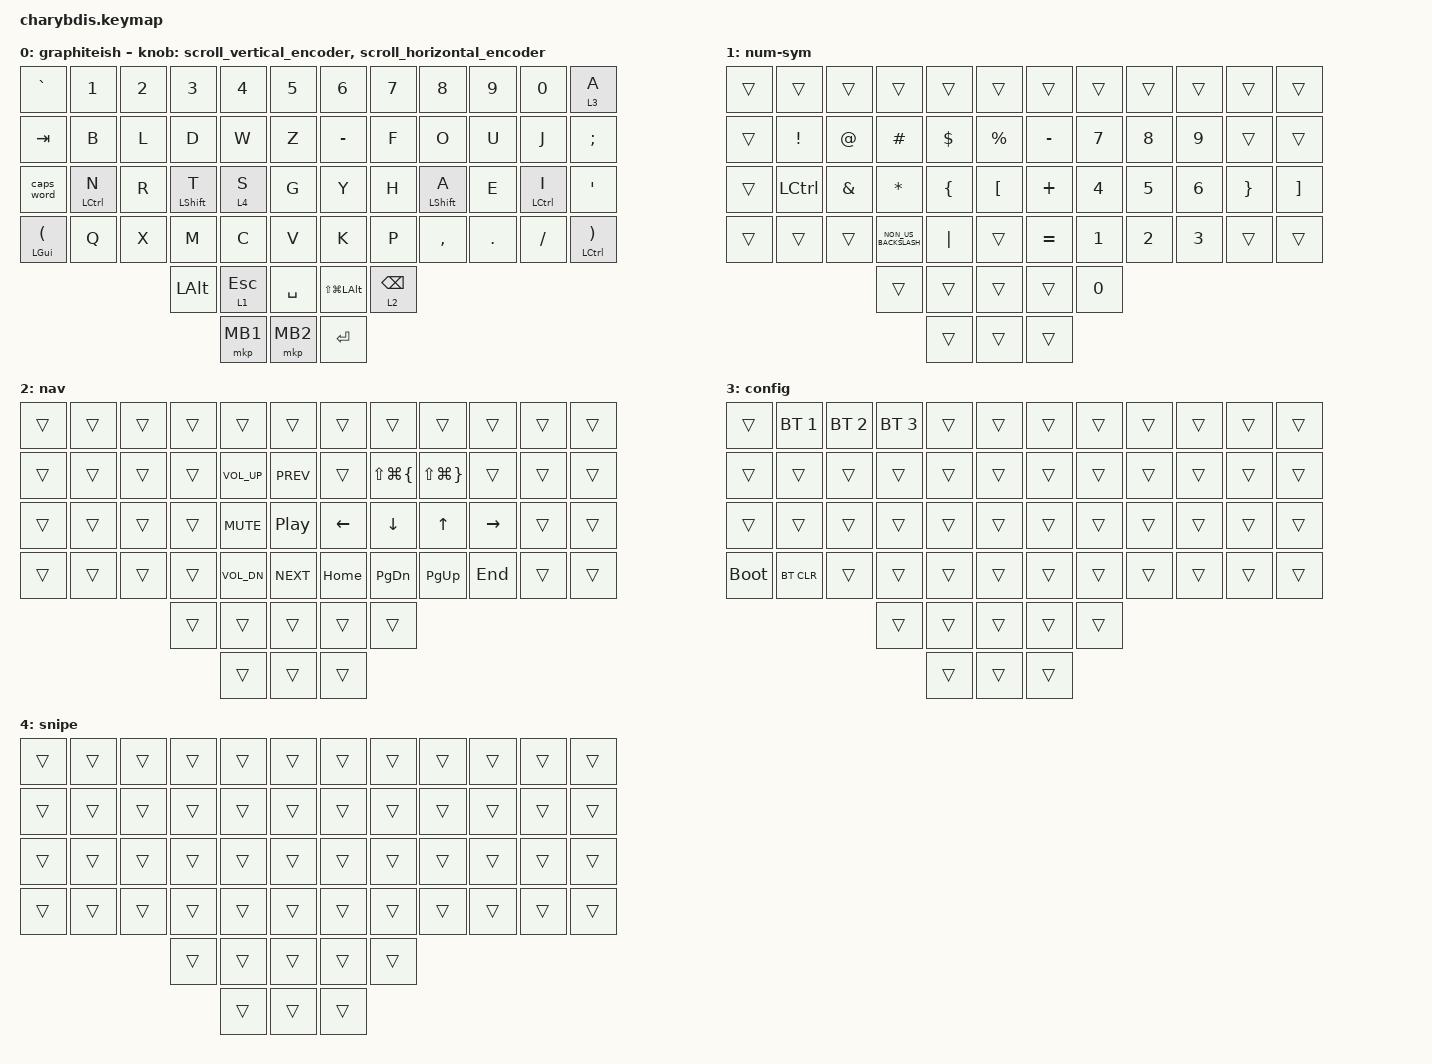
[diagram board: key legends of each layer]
#include <dt-bindings/zmk/mouse.h>
#include <input/processors.dtsi>
#include <zephyr/dt-bindings/input/input-event-codes.h>
#include <behaviors.dtsi>
#include <dt-bindings/zmk/bt.h>
#include <dt-bindings/zmk/keys.h>
#include <dt-bindings/zmk/pointing.h>

#define ZMK_POINTING_DEFAULT_MOVE_VAL 2000 // 600
#define ZMK_POINTING_DEFAULT_SCRL_VAL 12   // 10

&lt {
    tapping-term-ms = <200>;
    flavor = "balanced";
    quick-tap-ms = <150>;
};

&mt { flavor = "tap-preferred"; };

&mmv_input_listener { input-processors = <&zip_xy_scaler 2 1>; };

&msc_input_listener { input-processors = <&zip_scroll_scaler 2 1>; };

/ {
    // 上下滚动编码器行为

    scroll_vertical_encoder: scroll_vertical_encoder {
        compatible = "zmk,behavior-sensor-rotate";
        #sensor-binding-cells = <0>;
        bindings = <&msc SCRL_DOWN>, <&msc SCRL_UP>;

        tap-ms = <100>;
    };

    // 左右滚动编码器行为

    scroll_horizontal_encoder: scroll_horizontal_encoder {
        compatible = "zmk,behavior-sensor-rotate";
        #sensor-binding-cells = <0>;
        bindings = <&msc SCRL_LEFT>, <&msc SCRL_RIGHT>;

        tap-ms = <100>;
    };

    behaviors {
    };

    combos {
        compatible = "zmk,combos";

        middle-mouse {
            bindings = <&mkp MCLK>;
            key-positions = <53 54>;
        };
    };

    keymap {
        compatible = "zmk,keymap";

        graphiteish {
            bindings = <
&kp GRAVE                  &kp N1       &kp N2  &kp N3            &kp N4        &kp N5       &kp N6                &kp N7           &kp N8            &kp N9   &kp N0       &lt 3 A
&kp TAB                    &kp B        &kp L   &kp D             &kp W         &kp Z        &kp MINUS             &kp F            &kp O             &kp U    &kp J        &kp SEMI
&caps_word                 &mt LCTRL N  &kp R   &mt LEFT_SHIFT T  &lt 4 S       &kp G        &kp Y                 &kp H            &mt LEFT_SHIFT A  &kp E    &mt LCTRL I  &kp APOS
&mt LGUI LEFT_PARENTHESIS  &kp Q        &kp X   &kp M             &kp C         &kp V        &kp K                 &kp P            &kp COMMA         &kp DOT  &kp FSLH     &mt LCTRL RIGHT_PARENTHESIS
                                                &kp LEFT_ALT      &lt 1 ESCAPE  &kp SPACE    &kp LS(LG(LEFT_ALT))  &lt 2 BACKSPACE
                                                                  &mkp MB1      &mkp MB2     &kp ENTER
            >;

            sensor-bindings =
                <&scroll_vertical_encoder>,
                // 编码器1：上下滚动,,,,,,,,,,,,
                <&scroll_horizontal_encoder>;

            // 编码器2：左右滚动
        };

        num-sym {
            bindings = <
&trans  &trans           &trans         &trans                &trans          &trans              &trans     &trans        &trans  &trans  &trans           &trans
&trans  &kp EXCLAMATION  &kp AT_SIGN    &kp HASH              &kp DOLLAR      &kp PERCENT         &kp MINUS  &kp N7        &kp N8  &kp N9  &trans           &trans
&trans  &kp LCTRL        &kp AMPERSAND  &kp ASTERISK          &kp LEFT_BRACE  &kp LEFT_BRACKET    &kp PLUS   &kp N4        &kp N5  &kp N6  &kp RIGHT_BRACE  &kp RIGHT_BRACKET
&trans  &trans           &trans         &kp NON_US_BACKSLASH  &kp PIPE        &trans              &kp EQUAL  &kp NUMBER_1  &kp N2  &kp N3  &trans           &trans
                                        &trans                &trans          &trans              &trans     &kp N0
                                                              &trans          &trans              &trans
            >;
        };

        nav {
            bindings = <
&trans  &trans  &trans  &trans  &trans           &trans              &trans    &trans                  &trans                   &trans     &trans  &trans
&trans  &trans  &trans  &trans  &kp C_VOLUME_UP  &kp C_PREV          &trans    &kp LS(LG(LEFT_BRACE))  &kp LS(LG(RIGHT_BRACE))  &trans     &trans  &trans
&trans  &trans  &trans  &trans  &kp C_MUTE       &kp C_PLAY_PAUSE    &kp LEFT  &kp DOWN_ARROW          &kp UP_ARROW             &kp RIGHT  &trans  &trans
&trans  &trans  &trans  &trans  &kp C_VOL_DN     &kp C_NEXT          &kp HOME  &kp PAGE_DOWN           &kp PAGE_UP              &kp END    &trans  &trans
                        &trans  &trans           &trans              &trans    &trans
                                &trans           &trans              &trans
            >;
        };

        config {
            bindings = <
&trans       &bt BT_SEL 1  &bt BT_SEL 2  &bt BT_SEL 3  &trans  &trans    &trans  &trans  &trans  &trans  &trans  &trans
&trans       &trans        &trans        &trans        &trans  &trans    &trans  &trans  &trans  &trans  &trans  &trans
&trans       &trans        &trans        &trans        &trans  &trans    &trans  &trans  &trans  &trans  &trans  &trans
&bootloader  &bt BT_CLR    &trans        &trans        &trans  &trans    &trans  &trans  &trans  &trans  &trans  &trans
                                         &trans        &trans  &trans    &trans  &trans
                                                       &trans  &trans    &trans
            >;
        };

        snipe {
            bindings = <
&trans  &trans  &trans  &trans  &trans  &trans    &trans  &trans  &trans  &trans  &trans  &trans
&trans  &trans  &trans  &trans  &trans  &trans    &trans  &trans  &trans  &trans  &trans  &trans
&trans  &trans  &trans  &trans  &trans  &trans    &trans  &trans  &trans  &trans  &trans  &trans
&trans  &trans  &trans  &trans  &trans  &trans    &trans  &trans  &trans  &trans  &trans  &trans
                        &trans  &trans  &trans    &trans  &trans
                                &trans  &trans    &trans
            >;
        };

        /* layer_2 {
            bindings = <
&none  &none   &none    &none   &none         &none         &kp N1         &none         &none     &none  &none   &to 0
&none  &none   &none    &none   &none         &none         &none         &none          &rgb_ug RGB_BRD &rgb_ug RGB_BRI  &rgb_ug RGB_EFF   &rgb_ug RGB_TOG
&none  &none   &none    &none   &none         &none         &none         &mkp LCLK     &mkp RCLK  &none  &none   &none
&none  &none   &none    &none   &bt BT_NXT  &bt BT_CLR    &none         &none         &none     &none  &none   &none
                                   &none         &none         &none         &none         &none
                                                 &none         &none         &none
            >;
       
            
        };

       Mouse {
            bindings = <
&none        &none         &none         &none         &none      &none         &none       &none      &none         &none         &none         &none
&none        &bt BT_SEL 0  &bt BT_SEL 1  &bt BT_SEL 3  &none      &bt BT_CLR    &bt BT_CLR  &none      &bt BT_SEL 2  &bt BT_SEL 1  &bt BT_SEL 0  &none
&none        &trans        &trans        &mkp MCLK     &trans     &none         &none       &trans     &mkp MCLK     &trans        &trans        &none
&bootloader  &trans        &mkp RCLK     &mo 4         &mkp LCLK  &mo 5         &mo 5       &mkp LCLK  &mo 4         &mkp RCLK     &trans        &bootloader
                                         &mo 5         &mkp LCLK  &mkp RCLK     &mkp RCLK   &mkp LCLK
                                                       &none      &trans        &trans
            >;

            
        };

        layer_4 {
            bindings = <
&trans  &trans  &trans     &trans     &trans     &trans       &trans     &trans     &trans     &trans     &trans  &trans
&trans  &trans  &trans     &trans     &trans     &trans       &trans     &trans     &trans     &trans     &trans  &trans
&trans  &trans  &trans     &mkp MCLK  &trans     &trans       &trans     &trans     &mkp MCLK  &trans     &trans  &trans
&trans  &trans  &mkp RCLK  &trans     &mkp LCLK  &trans       &trans     &mkp LCLK  &trans     &mkp RCLK  &trans  &trans
                           &trans     &mkp LCLK  &mkp RCLK    &mkp RCLK  &mkp LCLK
                                      &trans     &trans       &trans
            >;
                
                
               
        };

        layer_5 {
            bindings = <
&trans  &trans  &trans     &trans     &trans     &trans       &trans     &trans     &trans     &trans     &trans  &trans
&trans  &trans  &trans     &trans     &trans     &trans       &trans     &trans     &trans     &trans     &trans  &trans
&trans  &trans  &trans     &mkp MCLK  &trans     &trans       &trans     &trans     &mkp MCLK  &trans     &trans  &trans
&trans  &trans  &mkp RCLK  &trans     &mkp LCLK  &trans       &trans     &mkp LCLK  &trans     &mkp RCLK  &trans  &trans
                           &trans     &mkp LCLK  &mkp RCLK    &mkp RCLK  &mkp LCLK
                                      &trans     &trans       &trans
            >;
                
                
        };*/
    };
};
